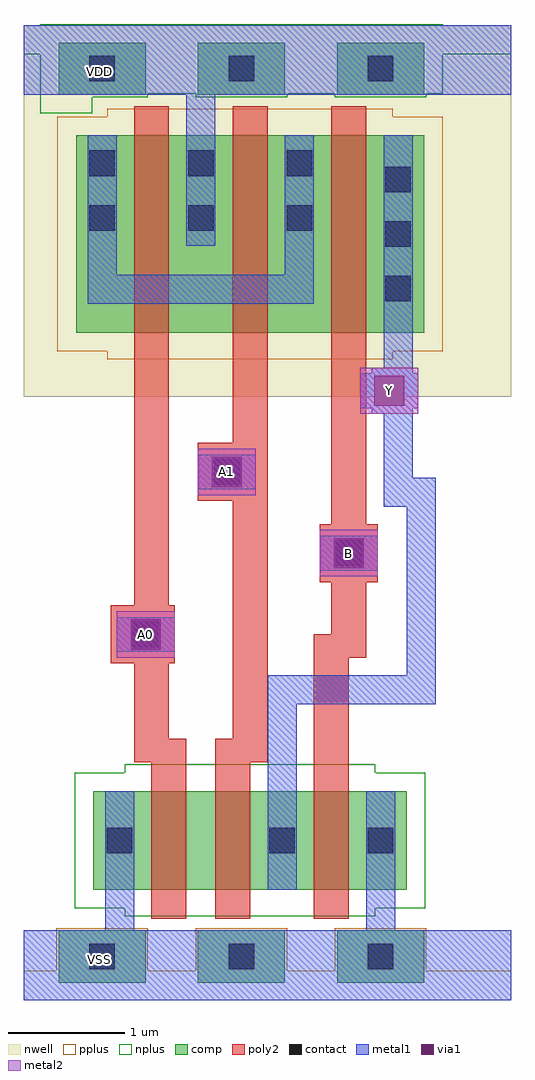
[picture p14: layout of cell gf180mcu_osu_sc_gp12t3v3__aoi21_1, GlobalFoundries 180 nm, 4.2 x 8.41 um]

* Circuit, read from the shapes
.subckt gf180mcu_osu_sc_gp12t3v3__aoi21_1 A0 A1 B VDD VSS Y
XM1 n1 A0 VSS VSS nfet_03v3 w=0.85u l=0.3u
XM2 Y A1 n1 VSS nfet_03v3 w=0.85u l=0.3u
XM3 VSS B Y VSS nfet_03v3 w=0.85u l=0.3u
XM4 VDD A0 n2 VDD pfet_03v3 w=1.7u l=0.3u
XM5 n2 A1 VDD VDD pfet_03v3 w=1.7u l=0.3u
XM6 Y B n2 VDD pfet_03v3 w=1.7u l=0.3u
.ends

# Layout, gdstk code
import gdstk
lib = gdstk.Library(unit=1e-6, precision=1e-09)
def R(c, l, rs):  # rectangles x0, y0, x1, y1
    for r in rs: c.add(gdstk.rectangle(r[:2], r[2:], *l))
def A(c, l, x, y, w, h, nx, ny, dx, dy):  # array of equal rectangles
    R(c, l, [(x+i*dx, y+j*dy, x+i*dx+w, y+j*dy+h) for i in range(nx) for j in range(ny)])
nwell = (21, 0)
comp = (22, 0)
poly2 = (30, 0)
pplus = (31, 0)
nplus = (32, 0)
contact = (33, 0)
metal1 = (34, 0)
via1 = (35, 0)
metal2 = (36, 0)

gf180mcu_osu_sc_gp12t3v3 = lib.new_cell('gf180mcu_osu_sc_gp12t3v3__aoi21_1')
R(gf180mcu_osu_sc_gp12t3v3, nwell, [(0,5.2,4.2,8.4)])
A(gf180mcu_osu_sc_gp12t3v3, comp, 0.3, 0.15, 0.75, 0.45, 3, 2, 1.2, 7.65)
R(gf180mcu_osu_sc_gp12t3v3, comp, [(0.6,0.95,3.3,1.8), (0.45,5.75,3.45,7.45)])
R(gf180mcu_osu_sc_gp12t3v3, poly2, [(1.1,0.7,1.4,2.05), (1.65,0.7,1.95,2.05), (2.5,0.7,2.8,2.95), (0.95,2.05,1.4,2.25), (1.65,2.05,2.1,2.25), (0.95,2.25,1.25,2.9), (1.8,2.25,2.1,4.3), (0.75,2.9,1.3,3.4), (2.5,2.95,2.95,3.15), (2.65,3.15,2.95,3.6), (0.95,3.4,1.25,7.7), (2.55,3.6,3.05,4.1), (2.65,4.1,2.95,7.7), (1.5,4.3,2.1,4.8), (1.8,4.8,2.1,7.7)])
A(gf180mcu_osu_sc_gp12t3v3, pplus, 0.28, 0.13, 0.79, 0.49, 3, 1, 1.2, 0)
R(gf180mcu_osu_sc_gp12t3v3, pplus, [(0,0,4.2,0.25), (0.72,5.52,3.18,5.59), (0.29,5.59,3.61,7.61), (0.72,7.61,3.18,7.68)])
R(gf180mcu_osu_sc_gp12t3v3, nplus, [(0.87,0.72,3.03,0.79), (0.44,0.79,3.46,1.96), (0.87,1.96,3.03,2.03), (0.14,7.64,0.59,7.78), (0.14,7.78,1.07,7.81), (1.48,7.78,2.27,7.81), (2.68,7.78,3.47,7.81), (0.14,7.81,3.61,8.15), (0,8.15,4.2,8.4), (0,8.15,4.2,8.4), (0.14,8.4,3.61,8.41)])
A(gf180mcu_osu_sc_gp12t3v3, contact, 0.565, 0.265, 0.22, 0.22, 3, 2, 1.2, 7.65)
A(gf180mcu_osu_sc_gp12t3v3, contact, 3.115, 6.02, 0.22, 0.22, 1, 3, 0, 0.47)
A(gf180mcu_osu_sc_gp12t3v3, contact, 0.565, 6.63, 0.22, 0.22, 3, 2, 0.85, 0.47)
R(gf180mcu_osu_sc_gp12t3v3, contact, [(0.715,1.265,0.935,1.485), (2.115,1.265,2.335,1.485), (2.965,1.265,3.185,1.485), (0.94,3.04,1.16,3.26), (2.69,3.74,2.91,3.96), (1.64,4.44,1.86,4.66)])
R(gf180mcu_osu_sc_gp12t3v3, metal1, [(0,0,4.2,0.6), (0.7,0.6,0.95,1.8), (2.95,0.6,3.2,1.8), (2.1,0.95,2.35,2.55), (2.1,2.55,3.55,2.8), (3.3,2.8,3.55,4.25), (0.8,3,1.3,3.3), (2.55,3.7,3.05,4), (3.1,4.25,3.55,4.5), (1.5,4.4,2,4.7), (3.1,4.5,3.35,5.05), (3,5.05,3.35,5.1), (2.9,5.1,3.4,5.4), (3,5.4,3.35,5.45), (3.1,5.45,3.35,7.45), (0.55,6,2.5,6.25), (0.55,6.25,0.8,7.45), (2.25,6.25,2.5,7.45), (1.4,6.5,1.65,7.8), (0,7.8,4.2,8.4)])
R(gf180mcu_osu_sc_gp12t3v3, via1, [(0.92,3.02,1.18,3.28), (2.67,3.72,2.93,3.98), (1.62,4.42,1.88,4.68), (3.02,5.12,3.28,5.38)])
R(gf180mcu_osu_sc_gp12t3v3, metal2, [(0.8,2.95,1.3,3.35), (2.55,3.65,3.05,4.05), (1.5,4.35,2,4.75), (2.9,5.05,3.4,5.45)])
gf180mcu_osu_sc_gp12t3v3.add(gdstk.Label('A0', (1.05,3.15), layer=36, texttype=10))
gf180mcu_osu_sc_gp12t3v3.add(gdstk.Label('A1', (1.75,4.55), layer=36, texttype=10))
gf180mcu_osu_sc_gp12t3v3.add(gdstk.Label('B', (2.8,3.85), layer=36, texttype=10))
gf180mcu_osu_sc_gp12t3v3.add(gdstk.Label('Y', (3.15,5.25), layer=36, texttype=10))
gf180mcu_osu_sc_gp12t3v3.add(gdstk.Label('VDD', (0.65,8), layer=34, texttype=10))
gf180mcu_osu_sc_gp12t3v3.add(gdstk.Label('VSS', (0.65,0.35), layer=34, texttype=10))

lib.write_gds('gf180mcu_osu_sc_gp12t3v3__aoi21_1.gds')
